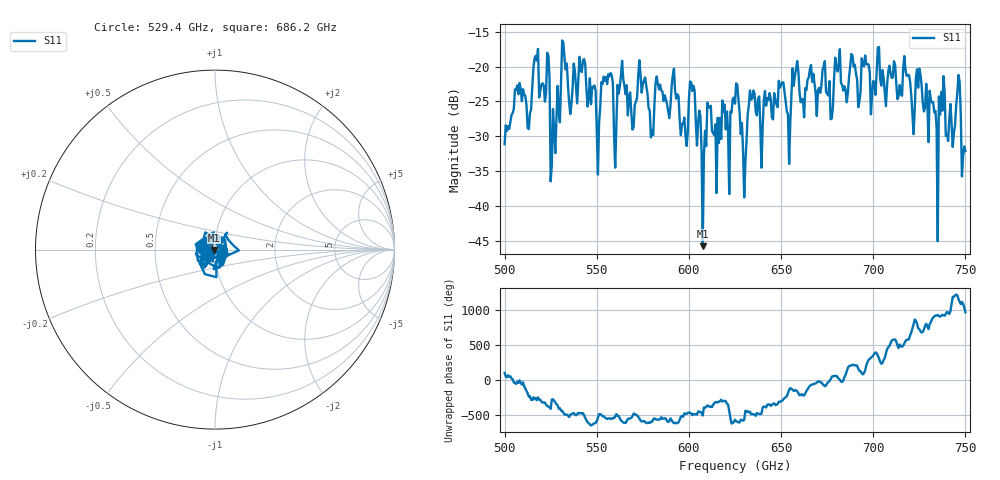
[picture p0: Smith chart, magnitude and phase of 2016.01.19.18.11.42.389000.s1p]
!Created with skrf (http://scikit-rf.org).
# GHz S RI R 50.0
!freq ReS11 ImS11
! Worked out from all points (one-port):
!   401 points, 500 GHz to 750 GHz, reference 50 ohm
!   lowest |S11| = -45.7 dB at 607.5 GHz (marker M1), VSWR 1.01, Z = 49.5 - j0.223 ohm
!   |S11| at or under -10 dB: start of sweep to end of sweep
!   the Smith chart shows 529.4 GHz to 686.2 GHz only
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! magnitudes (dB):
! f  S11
! 500 GHz  -31.1
! 506.9 GHz  -22.7
! 513.1 GHz  -29.0
! 516.9 GHz  -18.5
! 523.1 GHz  -18.0
! 526.2 GHz  -26.1
! 531.2 GHz  -16.3
! 542.5 GHz  -19.1
! 550.6 GHz  -35.5
! 556.9 GHz  -21.4
! 560.6 GHz  -28.5
! 562.5 GHz  -22.9
! 579.4 GHz  -30.2
! 593.8 GHz  -24.0
! 598.1 GHz  -29.8
! 601.9 GHz  -23.5
! 607.5 GHz  -45.7
! 611.2 GHz  -25.9
! 616.2 GHz  -31.0
! 625 GHz  -25.3
! 630 GHz  -38.8
! 634.4 GHz  -24.5
! 656.2 GHz  -20.3
! 687.5 GHz  -20.0
! 718.8 GHz  -21.2
! 733.8 GHz  -26.3
! 746.2 GHz  -21.2
! 750 GHz  -32.1
